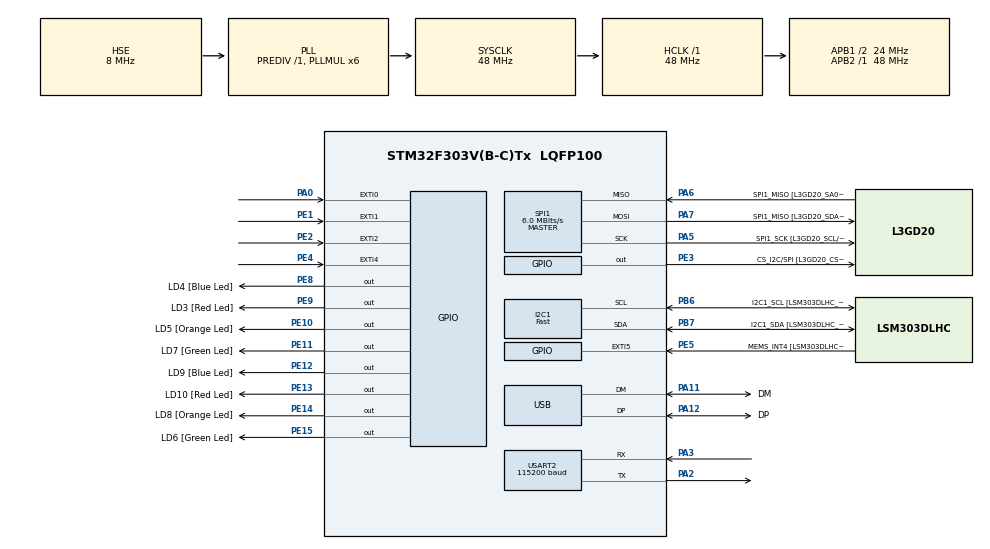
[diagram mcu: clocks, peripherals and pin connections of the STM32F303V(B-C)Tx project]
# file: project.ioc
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I2C1.I2C_Fall_Time=0
I2C1.I2C_Rise_Time=0
I2C1.I2C_Speed_Mode=I2C_Fast
I2C1.Timing=0x0000020B
I2C1.Timing-I2C=0x2000090E
Mcu.Family=STM32F3
Mcu.Name=STM32F303V(B-C)Tx
Mcu.Package=LQFP100
NVIC.EXTI0_IRQn=true\:0\:0\:false\:false\:true\:true\:true\:true
NVIC.EXTI1_IRQn=true\:0\:0\:false\:false\:true\:true\:true\:true
NVIC.EXTI2_TSC_IRQn=true\:0\:0\:false\:false\:true\:true\:true\:true
NVIC.EXTI4_IRQn=true\:0\:0\:false\:false\:true\:true\:true\:true
NVIC.PriorityGroup=NVIC_PRIORITYGROUP_0
NVIC.SPI1_IRQn=true\:0\:0\:false\:false\:true\:true\:true\:true
NVIC.USART2_IRQn=true\:0\:0\:false\:false\:true\:true\:true\:true
NVIC.USB_LP_CAN_RX0_IRQn=true\:0\:0\:false\:false\:true\:false\:true\:true
PA0.Signal=GPXTI0
PA11.GPIO_Label=DM
PA11.Mode=Device
PA11.Signal=USB_DM
PA12.GPIO_Label=DP
PA12.Mode=Device
PA12.Signal=USB_DP
PA13.GPIO_Label=SWDIO
PA13.Mode=Serial_Wire
PA13.Signal=SYS_JTMS-SWDIO
PA14.GPIO_Label=SWCLK
PA14.Mode=Serial_Wire
PA14.Signal=SYS_JTCK-SWCLK
PA2.Mode=Asynchronous
PA2.Signal=USART2_TX
PA3.Mode=Asynchronous
PA3.Signal=USART2_RX
PA5.GPIO_Label=SPI1_SCK [L3GD20_SCL/SPC]
PA5.Mode=Full_Duplex_Master
PA5.Signal=SPI1_SCK
PA6.GPIO_Label=SPI1_MISO [L3GD20_SA0/SDO]
PA6.Mode=Full_Duplex_Master
PA6.Signal=SPI1_MISO
PA7.GPIO_Label=SPI1_MISO [L3GD20_SDA/SDI/SDO]
PA7.Mode=Full_Duplex_Master
PA7.Signal=SPI1_MOSI
PB3.GPIO_Label=SWO
PB3.Signal=SYS_JTDO-TRACESWO
PB6.GPIO_Label=I2C1_SCL [LSM303DLHC_SCL]
PB6.GPIO_Pu=GPIO_PULLUP
PB6.Mode=I2C
PB6.Signal=I2C1_SCL
PB7.GPIO_Label=I2C1_SDA [LSM303DLHC_SDA]
PB7.GPIO_Pu=GPIO_PULLUP
PB7.Mode=I2C
PB7.Signal=I2C1_SDA
PC14-OSC32_IN.GPIO_Label=OSC32_IN
PC14-OSC32_IN.Signal=RCC_OSC32_IN
PC15-OSC32_OUT.GPIO_Label=OSC32_OUT
PC15-OSC32_OUT.Signal=RCC_OSC32_OUT
PE1.Signal=GPXTI1
PE10.GPIO_Label=LD5 [Orange Led]
PE10.Signal=GPIO_Output
PE11.GPIO_Label=LD7 [Green Led]
PE11.Signal=GPIO_Output
PE12.GPIO_Label=LD9 [Blue Led]
PE12.Signal=GPIO_Output
PE13.GPIO_Label=LD10 [Red Led]
PE13.Signal=GPIO_Output
PE14.GPIO_Label=LD8 [Orange Led]
PE14.Signal=GPIO_Output
PE15.GPIO_Label=LD6 [Green Led]
PE15.Signal=GPIO_Output
PE2.Signal=GPXTI2
PE3.GPIO_Label=CS_I2C/SPI [L3GD20_CS_I2C/SPI]
PE3.GPIO_Speed=GPIO_SPEED_FREQ_HIGH
PE3.Signal=GPIO_Output
PE4.Signal=GPXTI4
PE5.GPIO_Label=MEMS_INT4 [LSM303DLHC_INT2]
PE5.GPIO_ModeDefaultEXTI=GPIO_MODE_EVT_RISING
PE5.Signal=GPXTI5
PE8.GPIO_Label=LD4 [Blue Led]
PE8.Signal=GPIO_Output
PE9.GPIO_Label=LD3 [Red Led]
PE9.Signal=GPIO_Output
PF0-OSC_IN.GPIO_Label=OSC_IN
PF0-OSC_IN.Mode=HSE-External-Clock-Source
PF0-OSC_IN.Signal=RCC_OSC_IN
PF1-OSC_OUT.GPIO_Label=OSC_OUT
PF1-OSC_OUT.Signal=RCC_OSC_OUT
ProjectManager.HeapSize=0x200
ProjectManager.StackSize=0x400
ProjectManager.TargetToolchain=STM32CubeIDE
RCC.AHBFreq_Value=48000000
RCC.APB1CLKDivider=RCC_HCLK_DIV2
RCC.APB1Freq_Value=24000000
RCC.APB1TimFreq_Value=48000000
RCC.APB2Freq_Value=48000000
RCC.APB2TimFreq_Value=48000000
RCC.CortexFreq_Value=48000000
RCC.HCLKFreq_Value=48000000
RCC.HSE_VALUE=8000000
RCC.HSI_VALUE=8000000
RCC.LSE_VALUE=32768
RCC.PLLMUL=RCC_PLL_MUL6
RCC.SYSCLKFreq_VALUE=48000000
RCC.SYSCLKSourceVirtual=RCC_SYSCLKSOURCE_PLLCLK
RCC.USBFreq_Value=48000000
SPI1.BaudRatePrescaler=SPI_BAUDRATEPRESCALER_8
SPI1.BaudRatePrescaler-Full_Duplex_Master=SPI_BAUDRATEPRESCALER_2
SPI1.CLKPhase=SPI_PHASE_2EDGE
SPI1.CLKPolarity=SPI_POLARITY_HIGH
SPI1.CalculateBaudRate=6.0 MBits/s
SPI1.CalculateBaudRate-Full_Duplex_Master=24.0 MBits/s
SPI1.DataSize=SPI_DATASIZE_8BIT
SPI1.Direction=SPI_DIRECTION_2LINES
SPI1.Mode=SPI_MODE_MASTER
SPI1.Mode-Full_Duplex_Master=SPI_MODE_MASTER
SPI1.VirtualType=VM_MASTER
USART2.BaudRate=115200
USART2.VirtualMode-Asynchronous=VM_ASYNC
USB_DEVICE.CLASS_NAME_FS=CDC
USB_DEVICE.PRODUCT_STRING_CDC_FS=AGAProject
USB_DEVICE.VirtualMode=Cdc
USB_DEVICE.VirtualModeFS=Cdc_FS
VP_USB_DEVICE_VS_USB_DEVICE_CDC_FS.Mode=CDC_FS
board=STM32F3DISCOVERY

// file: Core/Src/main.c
/* USER CODE BEGIN Header */
/**
  ******************************************************************************
  * @file           : main.c
  * @brief          : Main program body
  ******************************************************************************
  * @attention
  *
  * Copyright (c) 2024 STMicroelectronics.
  * All rights reserved.
  *
  * This software is licensed under terms that can be found in the LICENSE file
  * in the root directory of this software component.
  * If no LICENSE file comes with this software, it is provided AS-IS.
  *
  ******************************************************************************
  */
/* USER CODE END Header */
#include "main.h"
#include "usb_device.h"

/* USER CODE BEGIN Includes */
#include "usbd_cdc_if.h"
#include "stm32f3xx_hal.h"

#include <stdio.h>
#include <string.h>
#include <math.h>  // For fabsf and fmaxf
/* USER CODE END Includes */

/* USER CODE BEGIN PD */
#define DEBUG 1

#ifdef DEBUG
#define LED_PIN_UART GPIO_PIN_14
#define LED_PIN_SEND_MODE GPIO_PIN_15
#define LED_PIN_MAGNET GPIO_PIN_13
#define LED_PIN_ACCEL GPIO_PIN_12
#define LED_PIN_GYRO GPIO_PIN_11

#define LED_PORT GPIOC
#endif

// Response Statuses
#define TIMEOUT 0
#define SUCCESS 1
#define ERROR 2
#define WAITING 3
#define IDLE 4
#define SEND_REQUEST 5

// Setup Stages
#define AT_TEST 0
#define AT_SET_CONNECT_MODE 1
#define AT_SET_MAX_CONNECTIONS 2
#define AT_START_SERVER 3
#define AT_SEND_HTML_HEADER 4
#define AT_SEND_HTML 5
#define AT_SEND_CONNECT_REQUEST 6

#define HEADER 0xAAAB
#define BUFFER_SIZE 64

//#define ENABLE_MAGNETOMETER 1
//#define ENABLE_ACCELEROMETER 1
//#define ENABLE_GYROSCOPE 1

#define MODE_NONE 0
#define MODE_BINARY_UART 1
#define MODE_ASCII_UART 2
#define MODE_BINARY_CDC 3
#define MODE_ASCII_CDC 4

#define RX_BUFFER_SIZE 2048

//#define APP_RX_DATA_SIZE 2048
//#define APP_TX_DATA_SIZE 2048
/* USER CODE END PD */

I2C_HandleTypeDef hi2c1;

SPI_HandleTypeDef hspi1;

UART_HandleTypeDef huart2;

/* USER CODE BEGIN PV */
volatile uint8_t data_ready_mag = 0;
volatile uint8_t data_ready_acc = 0;
volatile uint8_t data_ready_gyr = 0;
volatile uint16_t packet_number = 0;

volatile uint8_t transmission_mode = MODE_NONE;

volatile uint8_t rx_buffer[RX_BUFFER_SIZE];
volatile uint8_t shadow_buffer[RX_BUFFER_SIZE];
volatile uint16_t rx_index = 0;
volatile uint8_t rx_data_ready = 0;

volatile uint8_t setup_stage = AT_TEST;
volatile uint8_t response_status = IDLE;
volatile uint8_t has_response_changed = 0;
volatile uint32_t tick_when_sent = 0; // Added to track response timing
volatile uint8_t is_client_connected = 0;
volatile uint8_t was_client_connected = 0;
const char *html_page2 = "<!DOCTYPE html><html><head><title>Wi-Fi Config</title></head><body><form method=\"GET\" action=\"/\">SSID: <input type=\"text\" name=\"ssid\"><br>Password: <input type=\"text\" name=\"password\"><br><input type=\"submit\" value=\"Submit\"></form></body></html>\0";
const char *html_page = "HTTP/1.1 200 OK\r\nContent-Type: text/html\r\nContent-Length: 45\r\n\r\n<html><body><h1>Hello, World!</h1></body></html>\r\n";
/* USER CODE END PV */

void SystemClock_Config(void);
static void MX_GPIO_Init(void);
static void MX_I2C1_Init(void);
static void MX_SPI1_Init(void);
static void MX_USART2_UART_Init(void);
/* USER CODE BEGIN PFP */
void Init_All_Sensors(void);
void Pack_Data(uint8_t *binary_buffer, int16_t x, int16_t y, int16_t z);
void Transmit_Data_ASCII(const char *sensor_label, float x, float y, float z);
uint8_t CDC_Transmit_FS(uint8_t* Buf, uint16_t Len);
uint8_t Pisi_Register(uint8_t device, uint8_t reg, uint8_t value);
void Beri_Registre(uint8_t device, uint8_t reg, uint8_t* data, uint8_t length);
float Convert_To_Gauss(int16_t raw_value);
void Verify_Sensors(void);
void Clear_Interrupts(void);
void Send_Command(const char* cmd);
void Change_Response_Status(uint8_t new_status);

#if ENABLE_MAGNETOMETER
void Handle_Magnetometer(void);
#endif
#if ENABLE_ACCELEROMETER
void Handle_Accelerometer(void);
#endif
#if ENABLE_GYROSCOPE
void Handle_Gyroscope(void);
#endif
/* USER CODE END PFP */

/* USER CODE BEGIN 0 */

/* Sensor initialization */
void Init_All_Sensors(void) {
    #if ENABLE_MAGNETOMETER
    // Initialize magnetometer
    Pisi_Register(0x1E, 0x60, 0x8C);  // CFG_REG_A: Enable XYZ, 20 Hz
    Pisi_Register(0x1E, 0x61, 0x00);  // CFG_REG_B: ±50 gauss
    Pisi_Register(0x1E, 0x62, 0x01);  // CFG_REG_C: DRDY interrupt
    HAL_Delay(10);
    #endif

    #if ENABLE_ACCELEROMETER
    // Initialize accelerometer
    Pisi_Register(0x19, 0x20, 0x4F);  // CTRL_REG1: Enable XYZ, 50 Hz
    Pisi_Register(0x19, 0x23, 0x80);  // CTRL_REG4: ±4g scale
    HAL_Delay(10);
    #endif

    #if ENABLE_GYROSCOPE
    // Initialize gyroscope
    Pisi_Register(0x6B, 0x20, 0x0F); // CTRL_REG1: Enable XYZ, 200 Hz
    Pisi_Register(0x6B, 0x23, 0x30); // CTRL_REG4: ±500 dps
    HAL_Delay(10);
    #endif
}

/* Verify Sensor Communication */
void Verify_Sensors(void) {
    uint8_t who_am_i = 0;

    #if ENABLE_MAGNETOMETER
    Beri_Registre(0x1E, 0x4F, &who_am_i, 1); // Read WHO_AM_I register
    if (who_am_i != 0x6E) {
        CDC_Transmit_FS((uint8_t *)"Magnetometer communication failed\n", 34);
    } else {
        CDC_Transmit_FS((uint8_t *)"Magnetometer initialized\n", 25);
    }
    HAL_Delay(10);
    #endif

    #if ENABLE_ACCELEROMETER
    i2c1_beriRegistre(0x19, 0x0F, &who_am_i, 1); // Read WHO_AM_I register
    if (who_am_i != 0x33) {
        CDC_Transmit_FS((uint8_t *)"Accelerometer communication failed\n", 36);
    } else {
        CDC_Transmit_FS((uint8_t *)"Accelerometer initialized\n", 27);
    }
    HAL_Delay(10);
    #endif

    #if ENABLE_GYROSCOPE
    Beri_Registre(0x6B, 0x0F, &who_am_i, 1); // Read WHO_AM_I register
    if (who_am_i != 0xD4) {
        CDC_Transmit_FS((uint8_t *)"Gyroscope communication failed\n", 32);
    } else {
        CDC_Transmit_FS((uint8_t *)"Gyroscope initialized\n", 23);
    }
    HAL_Delay(10);
    #endif
}

/* Clear Interrupt Flags */
void Clear_Interrupts(void) {
    uint8_t dummy[6];

    #if ENABLE_MAGNETOMETER
    Beri_Registre(0x1E, 0x68, dummy, 6); // Clear magnetometer DRDY
    #endif

    #if ENABLE_ACCELEROMETER
    Beri_Registre(0x19, 0x28 | 0x80, dummy, 6); // Clear accelerometer interrupt
    #endif

    #if ENABLE_GYROSCOPE
    Beri_Registre(0x6B, 0x28 | 0x80, dummy, 6); // Clear gyroscope interrupt
    #endif
}

/* I2C helper functions */
uint8_t Pisi_Register(uint8_t device, uint8_t reg, uint8_t value) {
    device <<= 1;
    return HAL_I2C_Mem_Write(&hi2c1, device, reg, I2C_MEMADD_SIZE_8BIT, &value, 1, HAL_MAX_DELAY);
}

void Beri_Registre(uint8_t device, uint8_t reg, uint8_t* data, uint8_t length) {
    if ((length > 1) && (device == 0x1E)) {
        reg |= 0x80; // Auto-increment for magnetometer
    }
    device <<= 1;
    HAL_I2C_Mem_Read(&hi2c1, device, reg, I2C_MEMADD_SIZE_8BIT, data, length, HAL_MAX_DELAY);
}

float Convert_To_Gauss(int16_t raw_value) {

    return raw_value * (50.0f / 32768.0f);
}

/* Data packing function */
void Pack_Data(uint8_t *binary_buffer, int16_t x, int16_t y, int16_t z) {
    binary_buffer[0] = HEADER & 0xFF;
    binary_buffer[1] = (HEADER >> 8) & 0xFF;
    binary_buffer[2] = packet_number & 0xFF;
    binary_buffer[3] = (packet_number >> 8) & 0xFF;
    binary_buffer[4] = x & 0xFF;
    binary_buffer[5] = (x >> 8) & 0xFF;
    binary_buffer[6] = y & 0xFF;
    binary_buffer[7] = (y >> 8) & 0xFF;
    binary_buffer[8] = z & 0xFF;
    binary_buffer[9] = (z >> 8) & 0xFF;
}

/* ASCII transmission function */
void Transmit_Data_ASCII(const char *sensor_label, float x, float y, float z) {
    char ascii_buffer[BUFFER_SIZE];
    snprintf(ascii_buffer, BUFFER_SIZE, "{\"%s\":%d,\"X\":%.3f,\"Y\":%.3f,\"Z\":%.3f}\n\r",
             sensor_label, packet_number, x, y, z);
    if (transmission_mode == MODE_ASCII_UART) {
        HAL_UART_Transmit(&huart2, (uint8_t *)ascii_buffer, strlen(ascii_buffer), HAL_MAX_DELAY);
    } else if (transmission_mode == MODE_ASCII_CDC) {
        CDC_Transmit_FS((uint8_t *)ascii_buffer, strlen(ascii_buffer));
    }
}

#if ENABLE_MAGNETOMETER
/* Magnetometer handler */
void Handle_Magnetometer(void) {
    data_ready_mag = 0;

    int16_t raw_data[3];
    Beri_Registre(0x1E, 0x68, (uint8_t*)raw_data, 6);
    Clear_Interrupts(); // Clear interrupt flags

    if (transmission_mode == MODE_BINARY_UART || transmission_mode == MODE_BINARY_CDC) {
        uint8_t binary_buffer[10];
        Pack_Data(binary_buffer, raw_data[0], raw_data[1], raw_data[2]);
        if (transmission_mode == MODE_BINARY_UART) {
            HAL_UART_Transmit(&huart2, binary_buffer, 10, HAL_MAX_DELAY);
        } else {
            CDC_Transmit_FS(binary_buffer, 10);
        }
    } else if (transmission_mode == MODE_ASCII_UART || transmission_mode == MODE_ASCII_CDC) {
        float x = convertToGauss(raw_data[0]);
        float y = convertToGauss(raw_data[1]);
        float z = convertToGauss(raw_data[2]);
        Transmit_Data_ASCII("MAG", x, y, z);
    }
    packet_number++;
}
#endif

#if ENABLE_ACCELEROMETER
/* Accelerometer handler */
void Handle_Accelerometer(void) {
    data_ready_acc = 0;

    int16_t raw_data[3];
    Beri_Registre(0x19, 0x28 | 0x80, (uint8_t*)raw_data, 6);
    Clear_Interrupts(); // Clear interrupt flags

    if (transmission_mode == MODE_BINARY_UART || transmission_mode == MODE_BINARY_CDC) {
        uint8_t binary_buffer[10];
        Pack_Data(binary_buffer, raw_data[0], raw_data[1], raw_data[2]);
        if (transmission_mode == MODE_BINARY_UART) {
            HAL_UART_Transmit(&huart2, binary_buffer, 10, HAL_MAX_DELAY);
        } else {
            CDC_Transmit_FS(binary_buffer, 10);
        }
    } else if (transmission_mode == MODE_ASCII_UART || transmission_mode == MODE_ASCII_CDC) {
        float x = raw_data[0] * (4.0f / 32768.0f);
        float y = raw_data[1] * (4.0f / 32768.0f);
        float z = raw_data[2] * (4.0f / 32768.0f);
        Transmit_Data_ASCII("ACC", x, y, z);
    }
    packet_number++;
}
#endif

#if ENABLE_GYROSCOPE
/* Gyroscope handler */
void Handle_Gyroscope(void) {
    data_ready_gyr = 0;

    int16_t raw_data[3];
    Beri_Registre(0x6B, 0x28 | 0x80, (uint8_t*)raw_data, 6);
    Clear_Interrupts(); // Clear interrupt flags

    if (transmission_mode == MODE_BINARY_UART || transmission_mode == MODE_BINARY_CDC) {
        uint8_t binary_buffer[10];
        Pack_Data(binary_buffer, raw_data[0], raw_data[1], raw_data[2]);
        if (transmission_mode == MODE_BINARY_UART) {
            HAL_UART_Transmit(&huart2, binary_buffer, 10, HAL_MAX_DELAY);
        } else {
            CDC_Transmit_FS(binary_buffer, 10);
        }
    } else if (transmission_mode == MODE_ASCII_UART || transmission_mode == MODE_ASCII_CDC) {
        float x = raw_data[0] * (500.0f / 32768.0f);
        float y = raw_data[1] * (500.0f / 32768.0f);
        float z = raw_data[2] * (500.0f / 32768.0f);
        Transmit_Data_ASCII("GYR", x, y, z);
    }
    packet_number++;
}
#endif

void Change_Response_Status(uint8_t new_status) {
	if (new_status < 0 || new_status > 5) {
/*#ifdef DEBUG
	    CDC_Transmit_FS((uint8_t *)"new_status is invalid...\r\n", 26);
	    HAL_Delay(10);
#endif*/
	    return;
	}

	//last_response_status = response_status;
	has_response_changed = 1;
	response_status = new_status;
}

void Clear_RX_Buffer() {
    memset(rx_buffer, 0, RX_BUFFER_SIZE);
	HAL_Delay(10);
    rx_index = 0;
    rx_buffer[rx_index] = '\0';
#ifdef DEBUG
    CDC_Transmit_FS((uint8_t*)"Cleaned Buffer\r\n", 16);
    HAL_Delay(10);
#endif
}

void Send_Command(const char* cmd) {
	HAL_UART_AbortReceive_IT(&huart2);
	    //HAL_Delay(10);
    Clear_RX_Buffer();
	//HAL_Delay(10);
    tick_when_sent = HAL_GetTick();
	Change_Response_Status(WAITING);
    HAL_UART_Transmit(&huart2, (uint8_t*)cmd, strlen(cmd), HAL_MAX_DELAY);
    HAL_UART_Receive_IT(&huart2, &rx_buffer[rx_index], 1);
}

uint8_t Is_Timedout(uint32_t timeout_ms) {
	//HAL_Delay(10);
	uint32_t current_tick = HAL_GetTick();

	if ((current_tick - tick_when_sent) > timeout_ms) {
	    return 1; // Timed out
	}
	return 0;
}

uint8_t Wait_For_Response(const char *expected_response, uint32_t timeout_ms) {
	  //HAL_UART_AbortReceive_IT(&huart2);

    uint32_t start_time = HAL_GetTick();
    tick_when_sent = start_time; // Reset tick to start time

    char message[32] = "\0"; // Buffer to store the message
    uint32_t current_tick = HAL_GetTick();
    while (current_tick - start_time < timeout_ms) {
    	if (response_status) {
            if (strstr((char *)rx_buffer, expected_response)) {
                return 1; // Success
            }
    		return 2; // Error
    	}

        if (HAL_GetTick() - tick_when_sent > 500) { // Timeout for no new data
            CDC_Transmit_FS((uint8_t *)"No data received\n", 17);
            HAL_Delay(10);
            break;
        }
        snprintf(message, sizeof(message), "Current tick: %lu\r\n", current_tick); // Format the message
        CDC_Transmit_FS((uint8_t *)message, strlen(message)); // Transmit the message
        HAL_Delay(10);
        message[0] = '\0';
        current_tick = HAL_GetTick();
    }
    Clear_RX_Buffer();
    response_status = 0;

    //HAL_UART_Receive_IT(&huart2, &rx_buffer[rx_index], 1);
    return 0; // Timeout
}

void Configure_ESP_As_Access_Point(void) {
    switch(setup_stage) {
    case AT_TEST: // AT Test
#ifdef DEBUG
    	CDC_Transmit_FS((uint8_t *)"Sending AT Test command\r\n", 25);
        HAL_Delay(10);
#endif
        Send_Command("AT\r\n\0");
    	break;

    case AT_SET_CONNECT_MODE:
#ifdef DEBUG
    	CDC_Transmit_FS((uint8_t *)"Sending AT set HotSpot and Connect mode command\r\n", 49);
        HAL_Delay(10);
#endif
    	Send_Command("AT+CWMODE=3\r\n\0");
    	break;

    case AT_SET_MAX_CONNECTIONS:
#ifdef DEBUG
    	CDC_Transmit_FS((uint8_t *)"Sending AT set max connections command\r\n", 40);
        HAL_Delay(10);
#endif
    	Send_Command("AT+CIPMUX=1\r\n\0");
    	break;

    case AT_START_SERVER:
#ifdef DEBUG
    	CDC_Transmit_FS((uint8_t *)"Sending AT start server command\r\n", 33);
        HAL_Delay(10);
#endif
    	Send_Command("AT+CIPSERVER=1,80\r\n\0");
    	break;

    case AT_SEND_HTML_HEADER:
#ifdef DEBUG
    	CDC_Transmit_FS((uint8_t *)"Sending HTML Header\r\n", 21);
        HAL_Delay(10);
#endif
        Send_HTML_Header();
        break;

    case AT_SEND_HTML:
#ifdef DEBUG
    	CDC_Transmit_FS((uint8_t *)"Sending HTML\r\n", 14);
        HAL_Delay(10);
#endif
        Send_Command(html_page);
    	break;

    case AT_SEND_CONNECT_REQUEST:
#ifdef DEBUG
    	CDC_Transmit_FS((uint8_t *)"Sending AT start server command\r\n", 33);
        HAL_Delay(10);
#endif
        Send_Connect_Request("mlin", "dzorko16");
    	break;

    default:
#ifdef DEBUG
    	CDC_Transmit_FS((uint8_t *)"That Setup Stage not implemented yet\r\n", 38);
        HAL_Delay(10);
#endif
    	break;
    }
    HAL_Delay(10);
}

void Send_HTML_Header() {
    //char http_header[128];
    //snprintf(http_header, sizeof(http_header), "AT+CIPSEND=0,%d\r\n", 109);//strlen(html_page));
    Send_Command("AT+CIPSEND=0,109\r\n\0");
    //Send_Command(http_header);
}

void Send_Connect_Request(char *ssid, char *password) {
    char cmd[128];
    snprintf(cmd, sizeof(cmd), "AT+CWJAP=\"%s\",\"%s\"\r\n", ssid, password);
    Send_Command(cmd);
}

void Handle_Client_Request(void) {
    if (strstr((char *)rx_buffer, "GET /?ssid=")) {
        char *ssid = strstr((char *)rx_buffer, "ssid=") + 5;
        char *password = strstr((char *)rx_buffer, "password=") + 9;

        char *end_ssid = strstr(ssid, "&");
        if (end_ssid) *end_ssid = '\0';

        char *end_password = strstr(password, " ");
        if (end_password) *end_password = '\0';
    }
}

void Log_Response_Status_Change() {

	if (response_status == TIMEOUT)
		CDC_Transmit_FS((uint8_t *)"Response status changed to: TIMEOUT\r\n", 37);
	else if (response_status == SUCCESS)
		CDC_Transmit_FS((uint8_t *)"Response status changed to: SUCCESS\r\n", 37);
	else if (response_status == ERROR)
		CDC_Transmit_FS((uint8_t *)"Response status changed to: ERROR\r\n", 35);
	else if (response_status == WAITING)
		CDC_Transmit_FS((uint8_t *)"Response status changed to: WAITING\r\n", 37);
	else if (response_status == IDLE)
		CDC_Transmit_FS((uint8_t *)"Response status changed to: IDLE\r\n", 34);

    HAL_Delay(10);
}

uint8_t Has_Response_Finished(){
#ifdef DEBUG
	if (has_response_changed == 1){
		Log_Response_Status_Change();
		has_response_changed = 0;
	}
#endif
	if (response_status >= TIMEOUT && response_status < WAITING) {
		//CDC_Transmit_FS((uint8_t *)"Response to mode set not implemented\r\n", 38);
		return 1;
	}
	return 0;
}

void Log_Setup_Stage_Change() {

	if (setup_stage == AT_TEST)
		CDC_Transmit_FS((uint8_t *)"Setup stage changed to: AT_TEST\r\n", 33);
	else if (setup_stage == AT_SET_CONNECT_MODE)
		CDC_Transmit_FS((uint8_t *)"Setup stage changed to: AT_SET_CONNECT_MODE\r\n", 45);
	else if (response_status == AT_SET_MAX_CONNECTIONS)
		CDC_Transmit_FS((uint8_t *)"Setup stage changed to: AT_SET_MAX_CONNECTIONS\r\n", 48);
	else if (response_status == AT_START_SERVER)
		CDC_Transmit_FS((uint8_t *)"Setup stage changed to: AT_START_SERVER\r\n", 41);
	else if (response_status == AT_SEND_HTML_HEADER)
		CDC_Transmit_FS((uint8_t *)"Setup stage changed to: AT_SEND_HTML_HEADER\r\n", 45);
	else if (response_status == AT_SEND_HTML)
		CDC_Transmit_FS((uint8_t *)"Setup stage changed to: AT_SEND_HTML\r\n", 38);
	else if (response_status == AT_SEND_CONNECT_REQUEST)
		CDC_Transmit_FS((uint8_t *)"Setup stage changed to: AT_SEND_CONNECT_REQUEST\r\n", 49);

    HAL_Delay(10);
}

void Set_Setup_Stage(uint8_t new_stage) {
	if (new_stage < 0 || new_stage > 6) {
#ifdef DEBUG
	    CDC_Transmit_FS((uint8_t *)"new_stage is invalid...\r\n", 25);
	    HAL_Delay(10);
#endif
	    return;
	}
	setup_stage = new_stage;
#ifdef DEBUG
	Log_Setup_Stage_Change();
#endif
}

void Log_Uart_Response() {
#ifdef DEBUG
	CDC_Transmit_FS((uint8_t *)"===UART_RECEIVE_START===\r\n", 26);
	HAL_Delay(10);
	CDC_Transmit_FS((uint8_t *)rx_buffer, strlen((char *)rx_buffer));
	HAL_Delay(10);
	CDC_Transmit_FS((uint8_t *)"===UART_RECEIVE_END===\r\n", 24);
	HAL_Delay(10);
#endif
}

void Handle_Response() {
	  //HAL_UART_AbortReceive_IT(&huart2);

#ifdef DEBUG
	if (response_status == SUCCESS || response_status == ERROR) {
		CDC_Transmit_FS((uint8_t *)"===UART_RECEIVE_START===\r\n", 26);
		HAL_Delay(10);
		CDC_Transmit_FS((uint8_t *)rx_buffer, strlen((char *)rx_buffer));
		HAL_Delay(10);
		CDC_Transmit_FS((uint8_t *)"===UART_RECEIVE_END===\r\n", 24);
		HAL_Delay(10);

    	if (response_status == SUCCESS)
    		CDC_Transmit_FS((uint8_t *)"SUCCESS...\r\n", 12);
    	else //if (response_status == ERROR) {
    		CDC_Transmit_FS((uint8_t *)"ERROR...\r\n", 10);
	} else {
		CDC_Transmit_FS((uint8_t *)"TIMEOUT...\r\n", 12);

	}
	HAL_Delay(10);

#endif

	if (response_status == SUCCESS) {
		switch(setup_stage) {
		    case AT_TEST:
				Set_Setup_Stage(AT_SET_CONNECT_MODE);
		    	break;
		    case AT_SET_CONNECT_MODE:
		    	Set_Setup_Stage(AT_SET_MAX_CONNECTIONS);
		    	break;
		    case AT_SET_MAX_CONNECTIONS:
		    	Set_Setup_Stage(AT_START_SERVER);
		    	break;
		    case AT_START_SERVER:
		    	Set_Setup_Stage(AT_SEND_HTML_HEADER);
		    	break;
		    case AT_SEND_HTML_HEADER:
		    	Set_Setup_Stage(AT_SEND_HTML);
		    	break;
		    case AT_SEND_HTML:
		    	Set_Setup_Stage(AT_SEND_CONNECT_REQUEST);
		    	break;
		    case AT_SEND_CONNECT_REQUEST:
		    	Set_Setup_Stage(AT_TEST);
		    	break;

		    default:
		    		CDC_Transmit_FS((uint8_t *)"RESPONSE_NOT_IMPLEMENTED: Unknown Setup Stage\r\n", 47);
		    	    HAL_Delay(10);
		    		break;
			}
	}

    // Then clear it after we’re done
    Clear_RX_Buffer();
    Change_Response_Status(IDLE);

    //HAL_UART_Receive_IT(&huart2, &rx_buffer[rx_index], 1);
}

void Log_Client_Status_Change() {
	if (was_client_connected == is_client_connected)
		return;
	was_client_connected = is_client_connected;
#ifdef DEBUG
	Log_Uart_Response();

	if (is_client_connected) {
		CDC_Transmit_FS((uint8_t *)"Client Connected\r\n", 18);
	} else {
		CDC_Transmit_FS((uint8_t *)"Client Disconnected\r\n", 21);
	}
        HAL_Delay(10);
#endif
}

/*void Append_To_Buffer(char c) {
    if (buffer_index < BUFFER_SIZE - 1) {
        buffer[buffer_index++] = c;
        buffer[buffer_index] = '\0';
    }
}*/

void HAL_UART_RxCpltCallback(UART_HandleTypeDef *huart)
{
    if (huart->Instance == USART2) // Check if it's USART2
    {
  	  HAL_UART_AbortReceive_IT(&huart2);

    	rx_index++;
        if (rx_index >= RX_BUFFER_SIZE) rx_index = 0;
        rx_buffer[rx_index] = '\0';

        if (strstr((char *)rx_buffer, "OK")){
            Change_Response_Status(SUCCESS);
            //return;
        } else if (strstr((char *)rx_buffer, "ERROR")){
        	Change_Response_Status(ERROR);
        	//return;
        }

        if (strstr((char *)rx_buffer, "+STA_CONNECTED")) {
        	was_client_connected = is_client_connected;
        	is_client_connected = 1;
        	//Clear_RX_Buffer();
        } else if (strstr((char *)rx_buffer, "+STA_DISCONNECTED")) {
        	was_client_connected = is_client_connected;
        	is_client_connected = 0;
        	//Clear_RX_Buffer();
        }

#ifdef DEBUG
        HAL_GPIO_TogglePin(GPIOE, LED_PIN_UART);
		//CDC_Transmit_FS((uint8_t *)rx_buffer, strlen((char *)rx_buffer));
		//HAL_Delay(10);
#endif

    	HAL_UART_Receive_IT(&huart2, (uint8_t *)&rx_buffer[rx_index], 1);
        // Ensure null-termination
        /*if (rx_index < RX_BUFFER_SIZE) {
            rx_buffer[rx_index] = '\0';
        }*/
    }
}

void HAL_GPIO_EXTI_Callback(uint16_t GPIO_Pin) {
    if (GPIO_Pin == GPIO_PIN_0) { // Button press
        transmission_mode = (transmission_mode + 1) % 5;

#ifdef DEBUG
        HAL_GPIO_TogglePin(GPIOE, LED_PIN_SEND_MODE);
        //HAL_Delay(10);
#endif
        //Send_Command("AT\r\n");
        Change_Response_Status(SEND_REQUEST);
        //HAL_Delay(10);
    }

    #if ENABLE_MAGNETOMETER
    if (GPIO_Pin == GPIO_PIN_2) { // DRDY for magnetometer
        data_ready_mag = 1;
#ifdef DEBUG
        HAL_GPIO_TogglePin(GPIOE, LED_PIN_MAGNET);
#endif
    }
    #endif
    #if ENABLE_ACCELEROMETER
    if (GPIO_Pin == GPIO_PIN_4) { // INT1 for accelerometer
        data_ready_acc = 1;
#ifdef DEBUG
        HAL_GPIO_TogglePin(GPIOE, LED_PIN_ACCEL);
#endif
    }
    #endif
    #if ENABLE_GYROSCOPE
    if (GPIO_Pin == GPIO_PIN_1) { // INT2 for gyroscope
        data_ready_gyr = 1;
#ifdef DEBUG
        HAL_GPIO_TogglePin(GPIOE, LED_PIN_GYRO);
#endif
    }
    #endif
}

/* USER CODE END 0 */

int main(void)
{

  /* MCU Configuration--------------------------------------------------------*/

  /* Reset of all peripherals, Initializes the Flash interface and the Systick. */
  HAL_Init();

  /* Configure the system clock */
  SystemClock_Config();

  /* Initialize all configured peripherals */
  MX_GPIO_Init();
  MX_I2C1_Init();
  MX_SPI1_Init();
  MX_USB_DEVICE_Init();
  MX_USART2_UART_Init();
  /* USER CODE BEGIN 2 */

  //HAL_Delay(2000);
  //Init_All_Sensors();
  //Verify_Sensors(); // Verify all sensor communication
  //Clear_Interrupts(); // Clear interrupt flags

  Log_Response_Status_Change();
  HAL_UART_Receive_IT(&huart2, (uint8_t *)&rx_buffer[rx_index], 1);
  /* USER CODE END 2 */

  /* Infinite loop */
  while (1)
  {

    /* USER CODE BEGIN 3 */
	  //HAL_Delay(10);

	  Log_Client_Status_Change();

      if (Has_Response_Finished() == 1) {
    	  Handle_Response();
	      //continue;
	  }

	  if(Is_Timedout(5000) == 1 && response_status == WAITING)
		  Change_Response_Status(TIMEOUT);

	  if (response_status == SEND_REQUEST) {
		  Configure_ESP_As_Access_Point();
	  	  //continue;
	  }

      if (transmission_mode == MODE_NONE) {
          continue;
      }

      #if ENABLE_MAGNETOMETER
      if (data_ready_mag) {
          Handle_Magnetometer();
      }
      #endif
      #if ENABLE_ACCELEROMETER
      if (data_ready_acc) {
          Handle_Accelerometer();
      }
      #endif
      #if ENABLE_GYROSCOPE
      if (data_ready_gyr) {
          Handle_Gyroscope();
      }
      #endif
  }
  /* USER CODE END 3 */
}

void SystemClock_Config(void)
{
  RCC_OscInitTypeDef RCC_OscInitStruct = {0};
  RCC_ClkInitTypeDef RCC_ClkInitStruct = {0};
  RCC_PeriphCLKInitTypeDef PeriphClkInit = {0};

  /** Initializes the RCC Oscillators according to the specified parameters
  * in the RCC_OscInitTypeDef structure.
  */
  RCC_OscInitStruct.OscillatorType = RCC_OSCILLATORTYPE_HSI|RCC_OSCILLATORTYPE_HSE;
  RCC_OscInitStruct.HSEState = RCC_HSE_BYPASS;
  RCC_OscInitStruct.HSEPredivValue = RCC_HSE_PREDIV_DIV1;
  RCC_OscInitStruct.HSIState = RCC_HSI_ON;
  RCC_OscInitStruct.HSICalibrationValue = RCC_HSICALIBRATION_DEFAULT;
  RCC_OscInitStruct.PLL.PLLState = RCC_PLL_ON;
  RCC_OscInitStruct.PLL.PLLSource = RCC_PLLSOURCE_HSE;
  RCC_OscInitStruct.PLL.PLLMUL = RCC_PLL_MUL6;
  if (HAL_RCC_OscConfig(&RCC_OscInitStruct) != HAL_OK)
  {
    Error_Handler();
  }

  /** Initializes the CPU, AHB and APB buses clocks
  */
  RCC_ClkInitStruct.ClockType = RCC_CLOCKTYPE_HCLK|RCC_CLOCKTYPE_SYSCLK
                              |RCC_CLOCKTYPE_PCLK1|RCC_CLOCKTYPE_PCLK2;
  RCC_ClkInitStruct.SYSCLKSource = RCC_SYSCLKSOURCE_PLLCLK;
  RCC_ClkInitStruct.AHBCLKDivider = RCC_SYSCLK_DIV1;
  RCC_ClkInitStruct.APB1CLKDivider = RCC_HCLK_DIV2;
  RCC_ClkInitStruct.APB2CLKDivider = RCC_HCLK_DIV1;

  if (HAL_RCC_ClockConfig(&RCC_ClkInitStruct, FLASH_LATENCY_1) != HAL_OK)
  {
    Error_Handler();
  }
  PeriphClkInit.PeriphClockSelection = RCC_PERIPHCLK_USB|RCC_PERIPHCLK_USART2
                              |RCC_PERIPHCLK_I2C1;
  PeriphClkInit.Usart2ClockSelection = RCC_USART2CLKSOURCE_PCLK1;
  PeriphClkInit.I2c1ClockSelection = RCC_I2C1CLKSOURCE_HSI;
  PeriphClkInit.USBClockSelection = RCC_USBCLKSOURCE_PLL;
  if (HAL_RCCEx_PeriphCLKConfig(&PeriphClkInit) != HAL_OK)
  {
    Error_Handler();
  }
}

static void MX_I2C1_Init(void)
{

  hi2c1.Instance = I2C1;
  hi2c1.Init.Timing = 0x0000020B;
  hi2c1.Init.OwnAddress1 = 0;
  hi2c1.Init.AddressingMode = I2C_ADDRESSINGMODE_7BIT;
  hi2c1.Init.DualAddressMode = I2C_DUALADDRESS_DISABLE;
  hi2c1.Init.OwnAddress2 = 0;
  hi2c1.Init.OwnAddress2Masks = I2C_OA2_NOMASK;
  hi2c1.Init.GeneralCallMode = I2C_GENERALCALL_DISABLE;
  hi2c1.Init.NoStretchMode = I2C_NOSTRETCH_DISABLE;
  if (HAL_I2C_Init(&hi2c1) != HAL_OK)
  {
    Error_Handler();
  }

  /** Configure Analogue filter
  */
  if (HAL_I2CEx_ConfigAnalogFilter(&hi2c1, I2C_ANALOGFILTER_ENABLE) != HAL_OK)
  {
    Error_Handler();
  }

  /** Configure Digital filter
  */
  if (HAL_I2CEx_ConfigDigitalFilter(&hi2c1, 0) != HAL_OK)
  {
    Error_Handler();
  }

}

static void MX_SPI1_Init(void)
{

  /* SPI1 parameter configuration*/
  hspi1.Instance = SPI1;
  hspi1.Init.Mode = SPI_MODE_MASTER;
  hspi1.Init.Direction = SPI_DIRECTION_2LINES;
  hspi1.Init.DataSize = SPI_DATASIZE_8BIT;
  hspi1.Init.CLKPolarity = SPI_POLARITY_HIGH;
  hspi1.Init.CLKPhase = SPI_PHASE_2EDGE;
  hspi1.Init.NSS = SPI_NSS_SOFT;
  hspi1.Init.BaudRatePrescaler = SPI_BAUDRATEPRESCALER_8;
  hspi1.Init.FirstBit = SPI_FIRSTBIT_MSB;
  hspi1.Init.TIMode = SPI_TIMODE_DISABLE;
  hspi1.Init.CRCCalculation = SPI_CRCCALCULATION_DISABLE;
  hspi1.Init.CRCPolynomial = 7;
  hspi1.Init.CRCLength = SPI_CRC_LENGTH_DATASIZE;
  hspi1.Init.NSSPMode = SPI_NSS_PULSE_DISABLE;
  if (HAL_SPI_Init(&hspi1) != HAL_OK)
  {
    Error_Handler();
  }

}

static void MX_USART2_UART_Init(void)
{

  huart2.Instance = USART2;
  huart2.Init.BaudRate = 115200;
  huart2.Init.WordLength = UART_WORDLENGTH_8B;
  huart2.Init.StopBits = UART_STOPBITS_1;
  huart2.Init.Parity = UART_PARITY_NONE;
  huart2.Init.Mode = UART_MODE_TX_RX;
  huart2.Init.HwFlowCtl = UART_HWCONTROL_NONE;
  huart2.Init.OverSampling = UART_OVERSAMPLING_16;
  huart2.Init.OneBitSampling = UART_ONE_BIT_SAMPLE_DISABLE;
  huart2.AdvancedInit.AdvFeatureInit = UART_ADVFEATURE_NO_INIT;
  if (HAL_UART_Init(&huart2) != HAL_OK)
  {
    Error_Handler();
  }

}

static void MX_GPIO_Init(void)
{
  GPIO_InitTypeDef GPIO_InitStruct = {0};

  /* GPIO Ports Clock Enable */
  __HAL_RCC_GPIOE_CLK_ENABLE();
  __HAL_RCC_GPIOC_CLK_ENABLE();
  __HAL_RCC_GPIOF_CLK_ENABLE();
  __HAL_RCC_GPIOA_CLK_ENABLE();
  __HAL_RCC_GPIOB_CLK_ENABLE();

  /*Configure GPIO pin Output Level */
  HAL_GPIO_WritePin(GPIOE, CS_I2C_SPI_Pin|LD4_Pin|LD3_Pin|LD5_Pin
                          |LD7_Pin|LD9_Pin|LD10_Pin|LD8_Pin
                          |LD6_Pin, GPIO_PIN_RESET);

  /*Configure GPIO pins : PE2 PE4 PE1 */
  GPIO_InitStruct.Pin = GPIO_PIN_2|GPIO_PIN_4|GPIO_PIN_1;
  GPIO_InitStruct.Mode = GPIO_MODE_IT_RISING;
  GPIO_InitStruct.Pull = GPIO_NOPULL;
  HAL_GPIO_Init(GPIOE, &GPIO_InitStruct);

  /*Configure GPIO pin : CS_I2C_SPI_Pin */
  GPIO_InitStruct.Pin = CS_I2C_SPI_Pin;
  GPIO_InitStruct.Mode = GPIO_MODE_OUTPUT_PP;
  GPIO_InitStruct.Pull = GPIO_NOPULL;
  GPIO_InitStruct.Speed = GPIO_SPEED_FREQ_HIGH;
  HAL_GPIO_Init(CS_I2C_SPI_GPIO_Port, &GPIO_InitStruct);

  /*Configure GPIO pin : MEMS_INT4_Pin */
  GPIO_InitStruct.Pin = MEMS_INT4_Pin;
  GPIO_InitStruct.Mode = GPIO_MODE_EVT_RISING;
  GPIO_InitStruct.Pull = GPIO_NOPULL;
  HAL_GPIO_Init(MEMS_INT4_GPIO_Port, &GPIO_InitStruct);

  /*Configure GPIO pin : PA0 */
  GPIO_InitStruct.Pin = GPIO_PIN_0;
  GPIO_InitStruct.Mode = GPIO_MODE_IT_RISING;
  GPIO_InitStruct.Pull = GPIO_NOPULL;
  HAL_GPIO_Init(GPIOA, &GPIO_InitStruct);

  /*Configure GPIO pins : LD4_Pin LD3_Pin LD5_Pin LD7_Pin
                           LD9_Pin LD10_Pin LD8_Pin LD6_Pin */
  GPIO_InitStruct.Pin = LD4_Pin|LD3_Pin|LD5_Pin|LD7_Pin
                          |LD9_Pin|LD10_Pin|LD8_Pin|LD6_Pin;
  GPIO_InitStruct.Mode = GPIO_MODE_OUTPUT_PP;
  GPIO_InitStruct.Pull = GPIO_NOPULL;
  GPIO_InitStruct.Speed = GPIO_SPEED_FREQ_LOW;
  HAL_GPIO_Init(GPIOE, &GPIO_InitStruct);

  /* EXTI interrupt init*/
  HAL_NVIC_SetPriority(EXTI0_IRQn, 0, 0);
  HAL_NVIC_EnableIRQ(EXTI0_IRQn);

  HAL_NVIC_SetPriority(EXTI1_IRQn, 0, 0);
  HAL_NVIC_EnableIRQ(EXTI1_IRQn);

  HAL_NVIC_SetPriority(EXTI2_TSC_IRQn, 0, 0);
  HAL_NVIC_EnableIRQ(EXTI2_TSC_IRQn);

  HAL_NVIC_SetPriority(EXTI4_IRQn, 0, 0);
  HAL_NVIC_EnableIRQ(EXTI4_IRQn);

}

void Error_Handler(void)
{
  __disable_irq();
  while (1)
  {
  }
}
